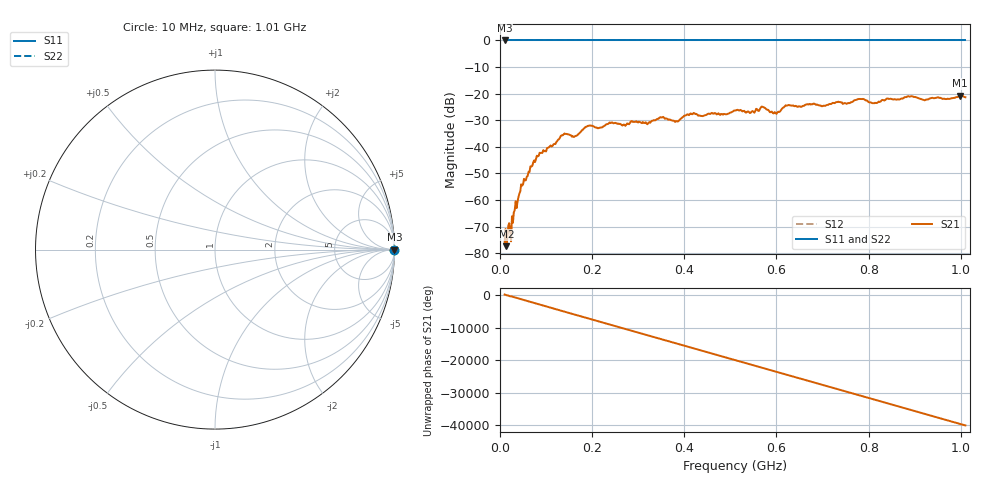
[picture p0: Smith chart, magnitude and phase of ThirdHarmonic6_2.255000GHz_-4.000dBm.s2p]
! 8/17/2025 2:44:20 AM
! C:\ANRITSUVNA\TEMP\TEMP.S2P
! CHANNEL.1
! TR.MEASUREMENT
! RAW.DATA
! RF.CORRECTION.OFF
! AVERAGING.OFF
! IF.BANDWIDTH: 5KHZ
! SWEEPTYPE:  FREQ.SWEEP(Linear)
! Reference Plane Port Info
! PORT:  PORT1  PORT2
! DISTANCE:  0  m  0  m
! TIME:  0  s  0  s
! PHASE.OFFSET:  0  deg.  0  deg.
! LOSS:  0  dB  0  dB
! REF.LOSS:  0  dB  0  dB
! REF.FREQ:  0  Hz  0  Hz
! Power Info
! POWER:  -20  dBm  -20  dBm
! EFF.POWER:  -20  dBm  -20  dBm
! SOURCE.ATTEN:  0  dB  0  dB
! TEST.ATTEN:  0  dB  0  dB
# GHZ S RI R 50.0
! FREQ.GHZ  S11RE  S11IM  S21RE  S21IM  S12RE  S12IM  S22RE  S22IM
!; PortSelection: Port_12
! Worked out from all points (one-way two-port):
!   501 points, 10 MHz to 1.01 GHz, reference 50 ohm
!   highest |S21| = -20.71 dB at 998 MHz (marker M1); lowest = -77.4 dB at 14 MHz (marker M2)
!   lowest |S11| = 0.0 dB at 10 MHz (marker M3)
!   |S11| at or under -10 dB: nowhere
!   |S22| runs from 0.0 to 0.0 dB; largest |S21 - S12| = 1.1
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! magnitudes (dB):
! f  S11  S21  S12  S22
! 10 MHz  0.0  -76.3  0.0  0.0
! 14 MHz  0.0  -77.4  0.0  0.0
! 26 MHz  0.0  -66.1  0.0  0.0
! 30 MHz  0.0  -64.6  0.0  0.0
! 48 MHz  0.0  -54.6  0.0  0.0
! 82 MHz  0.0  -43.6  0.0  0.0
! 136 MHz  0.0  -35.7  0.0  0.0
! 162 MHz  0.0  -36.1  0.0  0.0
! 178 MHz  0.0  -33.7  0.0  0.0
! 194 MHz  0.0  -32.0  0.0  0.0
! 322 MHz  0.0  -31.0  0.0  0.0
! 344 MHz  0.0  -29.4  0.0  0.0
! 384 MHz  0.0  -30.4  0.0  0.0
! 416 MHz  0.0  -27.7  0.0  0.0
! 510 MHz  0.0  -26.3  0.0  0.0
! 570 MHz  0.0  -25.0  0.0  0.0
! 596 MHz  0.0  -27.0  0.0  0.0
! 624 MHz  0.0  -24.5  0.0  0.0
! 678 MHz  0.0  -24.0  0.0  0.0
! 844 MHz  0.0  -22.0  0.0  0.0
! 998 MHz  0.0  -20.7  0.0  0.0
! 1.01 GHz  0.0  -21.4  0.0  0.0
